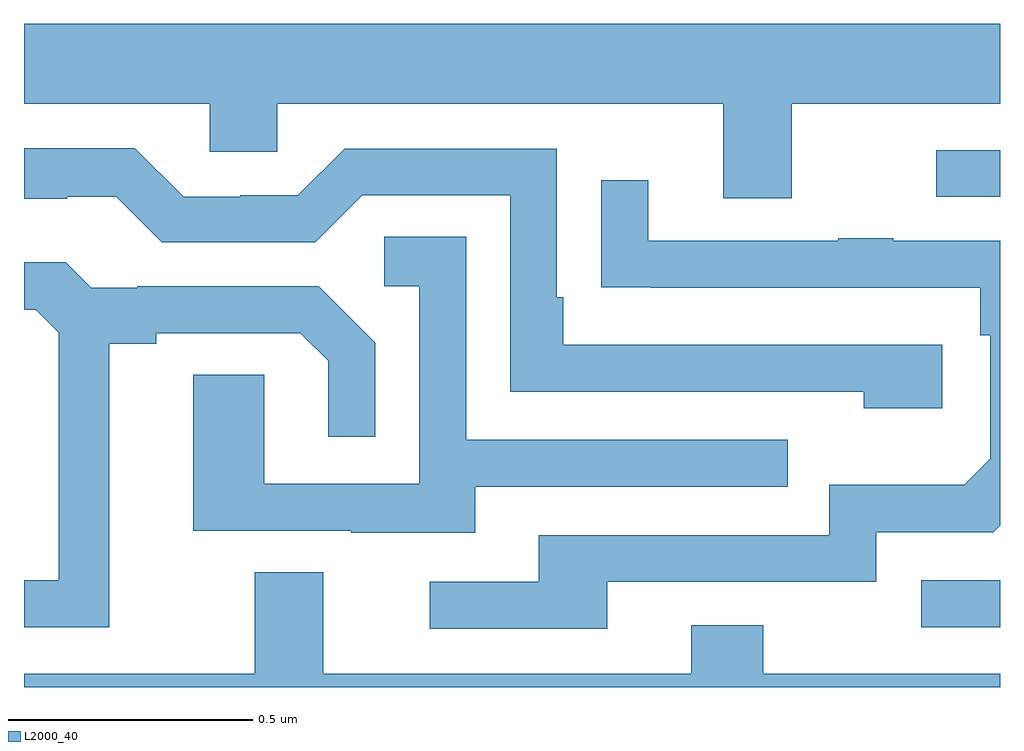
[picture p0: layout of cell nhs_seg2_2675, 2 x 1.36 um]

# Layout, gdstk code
import gdstk
lib = gdstk.Library(unit=1e-6, precision=1e-09)
def R(c, l, rs):  # rectangles x0, y0, x1, y1
    for r in rs: c.add(gdstk.rectangle(r[:2], r[2:], *l))
def P(c, l, *ps):  # polygons
    for p in ps: c.add(gdstk.Polygon(p, *l))
L2000_40 = (2000, 40)

nhs_seg2_2675 = lib.new_cell('nhs_seg2_2675')
R(nhs_seg2_2675, L2000_40, [(145.839,619.923,146,620.019), (145.869,620.805,146,620.901)])
P(nhs_seg2_2675, L2000_40, [(145.573,620.996),(146,620.996),(146,621.16),(144,621.16),(144,620.996),(144.381,620.996),(144.381,620.898),(144.519,620.898),(144.519,620.996),(145.433,620.996),(145.433,620.802),(145.573,620.802)],
  [(145.882,620.502),(145.105,620.502),(145.105,620.599),(145.092,620.599),(145.092,620.904),(144.657,620.904),(144.561,620.808),(144.443,620.808),(144.443,620.805),(144.327,620.805),(144.227,620.905),(144,620.905),(144,620.801),(144.089,620.801),(144.089,620.805),(144.189,620.805),(144.282,620.712),(144.597,620.712),(144.693,620.808),(144.996,620.808),(144.996,620.406),(145.721,620.406),(145.721,620.372),(145.882,620.372)],
  [(145.195,620.016),(145.746,620.016),(145.746,620.118),(145.986,620.118),(146,620.132),(146,620.715),(145.781,620.715),(145.781,620.72),(145.669,620.72),(145.669,620.715),(145.279,620.715),(145.279,620.839),(145.183,620.839),(145.183,620.62),(145.285,620.62),(145.285,620.619),(145.96,620.619),(145.96,620.522),(145.98,620.522),(145.98,620.268),(145.927,620.215),(145.65,620.215),(145.65,620.112),(145.055,620.112),(145.055,620.016),(144.831,620.016),(144.831,619.92),(145.195,619.92)],
  [(144.925,620.211),(145.565,620.211),(145.565,620.307),(144.906,620.307),(144.906,620.723),(144.738,620.723),(144.738,620.622),(144.81,620.622),(144.81,620.217),(144.492,620.217),(144.492,620.441),(144.347,620.441),(144.347,620.121),(144.671,620.121),(144.671,620.117),(144.925,620.117)],
  [(144.175,620.504),(144.271,620.504),(144.271,620.526),(144.566,620.526),(144.623,620.469),(144.623,620.313),(144.72,620.313),(144.72,620.506),(144.604,620.622),(144.232,620.622),(144.232,620.619),(144.138,620.619),(144.086,620.671),(144,620.671),(144,620.574),(144.024,620.574),(144.071,620.527),(144.071,620.019),(144,620.019),(144,619.923),(144.175,619.923)],
  [(146,619.828),(145.515,619.828),(145.515,619.927),(145.367,619.927),(145.367,619.828),(144.613,619.828),(144.613,620.036),(144.473,620.036),(144.473,619.828),(144,619.828),(144,619.8),(146,619.8)])

lib.write_gds('nhs_seg2_2675.gds')
